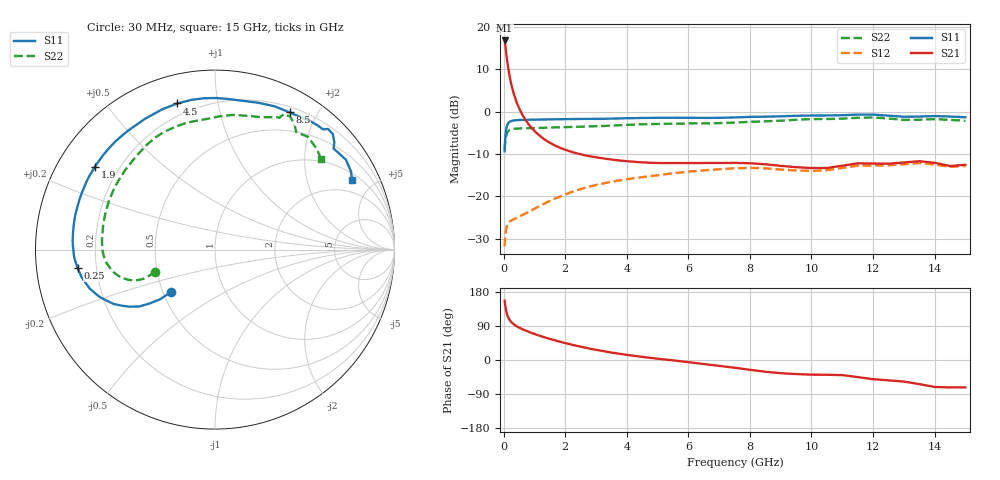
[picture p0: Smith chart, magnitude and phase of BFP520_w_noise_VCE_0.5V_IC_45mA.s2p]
! Infineon Technologies  Discrete & RF Semiconductors
! BFP520
! VCE =  0.5 V,  IC =  45 mA
! Common Emitter S-Parameters:  Oct 2015
# GHz  S  MA  R  50
!  f  S11  S21  S12  S22
! GHz  MAG  ANG  MAG  ANG  MAG  ANG  MAG  ANG
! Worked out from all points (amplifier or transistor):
!   109 points, 30 MHz to 15 GHz, reference 50 ohm
!   highest |S21| = 16.8 dB at 30 MHz (marker M1)
!   |S21| within 3 dB of that: start of sweep to 83.13 MHz
!   unconditionally stable (mu >= 1): start of sweep to end of sweep
!   at 450 MHz: K = 1.88, MAG = 7.9 dB, |S12| = -25.0 dB
!   at 4 GHz: K = 2.42, MAG = -4.5 dB, |S12| = -15.9 dB
!   at 15 GHz: K = 1.57, MAG = -4.3 dB, |S12| = -12.8 dB
!   lowest NFmin = 3.07 dB at 450 MHz
!   S11 on the Smith chart (normalised r, x): 30 MHz: 0.55, -0.29; 250 MHz: 0.13, -0.07; 1.9 GHz: 0.11, +0.31; 4.5 GHz: 0.14, +0.77; 8.5 GHz: 0.26, +1.65; 15 GHz: 1.30, +3.76
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0.03  0.34 -136.0  6.885 156.7  0.0259 30.9  0.356 -159.8
0.04  0.4144 -137.9  6.51 150.0  0.0298 32.2  0.3949 -158.3
0.06  0.5275 -143.1  5.738 138.9  0.0365 31.1  0.4646 -158.5
0.08  0.6075 -149.1  4.984 129.7  0.041 28.5  0.5128 -160.9
0.09  0.6398 -151.7  4.642 126.2  0.0426 27.3  0.5304 -162.3
0.11  0.6791 -156.0  4.076 120.2  0.0453 25.2  0.5578 -164.8
0.15  0.7305 -162.6  3.224 111.9  0.0483 22.4  0.5887 -169.1
0.2  0.7585 -168.2  2.536 104.9  0.0506 20.5  0.6085 -172.9
0.25  0.7723 -172.3  2.073 99.9  0.052 20.0  0.618 -175.7
0.4  0.7894 179.9  1.348 90.1  0.0554 21.1  0.6288 178.6
0.5  0.7947 176.3  1.099 85.6  0.0576 22.7  0.631 176.0
0.7  0.7983 170.6  0.806 78.1  0.0626 25.8  0.6339 171.5
1.2  0.8052 159.1  0.509 63.2  0.0781 30.6  0.6422 162.7
1.9  0.8132 145.4  0.366 46.7  0.1021 30.6  0.6526 152.0
2.6  0.8192 132.7  0.307 33.4  0.1249 26.2  0.6642 141.3
4.5  0.8409 104.4  0.252 8.2  0.1686 9.6  0.7079 118.1
5.1  0.8443 97.9  0.247 2.5  0.1794 4.8  0.7151 112.0
7.6  0.8548 72.2  0.248 -21.4  0.215 -19.1  0.7448 87.1
8.5  0.87 61.5  0.239 -31.0  0.2141 -28.9  0.7671 76.2
10.5  0.8995 48.4  0.216 -38.9  0.2033 -37.0  0.8167 63.9
13  0.868 40.4  0.251 -56.9  0.2394 -56.4  0.7969 55.5
15  0.8562 26.9  0.236 -72.2  0.2288 -71.8  0.7775 40.3
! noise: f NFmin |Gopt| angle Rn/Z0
0.45  3.07  0.16  -154  0.29
0.9  3.08  0.17  -149  0.32
1.9  3.17  0.24  -125  0.36
2.4  3.18  0.24  -123  0.34
3.5  3.14  0.23  -108  0.41
